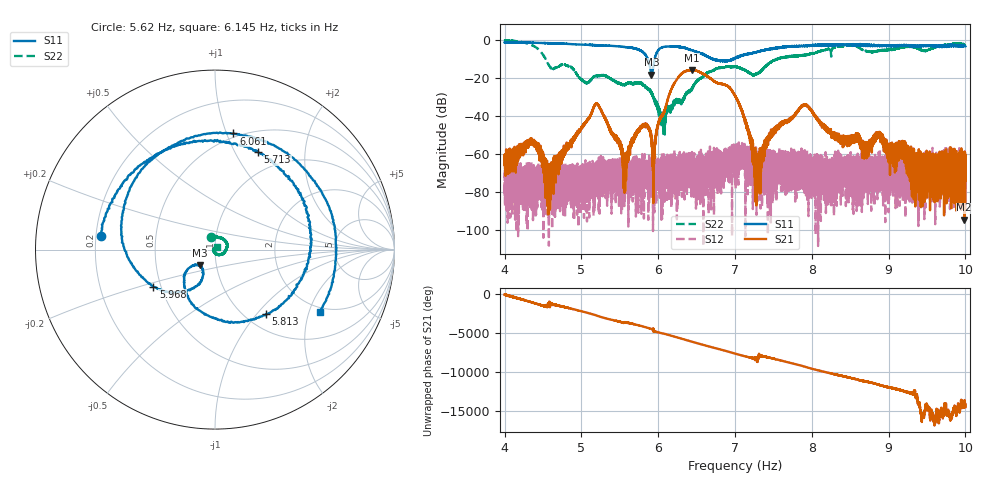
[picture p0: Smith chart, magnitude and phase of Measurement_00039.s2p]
!Created with skrf (http://scikit-rf.org).
# Hz S RI R 50.0
!freq ReS11 ImS11 ReS21 ImS21 ReS12 ImS12 ReS22 ImS22
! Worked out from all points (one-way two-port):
!   14001 points, 4 Hz to 10 Hz, reference 50 ohm
!   highest |S21| = -15.79 dB at 6.439 Hz (marker M1); lowest = -94.6 dB at 9.986 Hz (marker M2)
!   lowest |S11| = -18.3 dB at 5.913 Hz (marker M3), VSWR 1.28, Z = 41.6 - j7.39 ohm
!   |S11| at or under -10 dB: 5.865 Hz to 5.954 Hz (88.34 mHz wide, 1.49 % of centre); 6.712 Hz to 6.967 Hz (254.8 mHz wide, 3.73 % of centre); 6.97512 Hz to 6.976555 Hz (1.434 mHz wide, 0.0206 % of centre) (the widest 3 of 12)
!   |S22| runs from -50.2 to -0.2 dB; largest |S21 - S12| = 0.16
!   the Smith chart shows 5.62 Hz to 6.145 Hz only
!   S11 on the Smith chart (normalised r, x): 5.62 Hz: 0.22, +0.05; 5.713 Hz: 0.74, +1.25; 5.813 Hz: 1.22, -1.12; 5.968 Hz: 0.45, -0.22; 6.061 Hz: 0.47, +1.06; 6.145 Hz: 1.85, -2.36
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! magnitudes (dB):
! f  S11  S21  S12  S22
! 4 Hz  -1.2  -62.8  -77.4  -0.3
! 4.355 Hz  -1.3  -53.5  -74.5  -2.6
! 4.595 Hz  -1.6  -84.2  -71.9  -14.3
! 5 Hz  -2.4  -46.4  -70.3  -20.8
! 5.205 Hz  -2.7  -33.6  -66.8  -19.0
! 5.562 Hz  -3.6  -80.6  -66.7  -23.5
! 5.62 Hz  -3.9  -59.4  -70.1  -22.5
! 5.713 Hz  -4.5  -49.0  -65.5  -22.6
! 5.813 Hz  -6.8  -45.2  -70.1  -23.7
! 5.913 Hz  -18.3  -52.4  -72.4  -27.3
! 5.968 Hz  -8.0  -50.9  -67.4  -32.3
! 6 Hz  -5.3  -44.1  -70.0  -35.6
! 6.061 Hz  -3.7  -39.3  -63.9  -45.3
! 6.145 Hz  -3.4  -28.6  -64.8  -36.4
! 6.439 Hz  -5.3  -15.8  -64.5  -25.6
! 7 Hz  -9.5  -29.4  -61.6  -14.0
! 7.293 Hz  -6.1  -61.1  -60.4  -17.5
! 7.523 Hz  -4.2  -47.2  -75.3  -10.5
! 8 Hz  -2.9  -37.6  -66.9  -6.9
! 9 Hz  -3.1  -54.7  -69.6  -5.0
! 9.986 Hz  -2.9  -94.6  -74.6  -2.5
! 10 Hz  -3.3  -69.7  -69.7  -3.1
